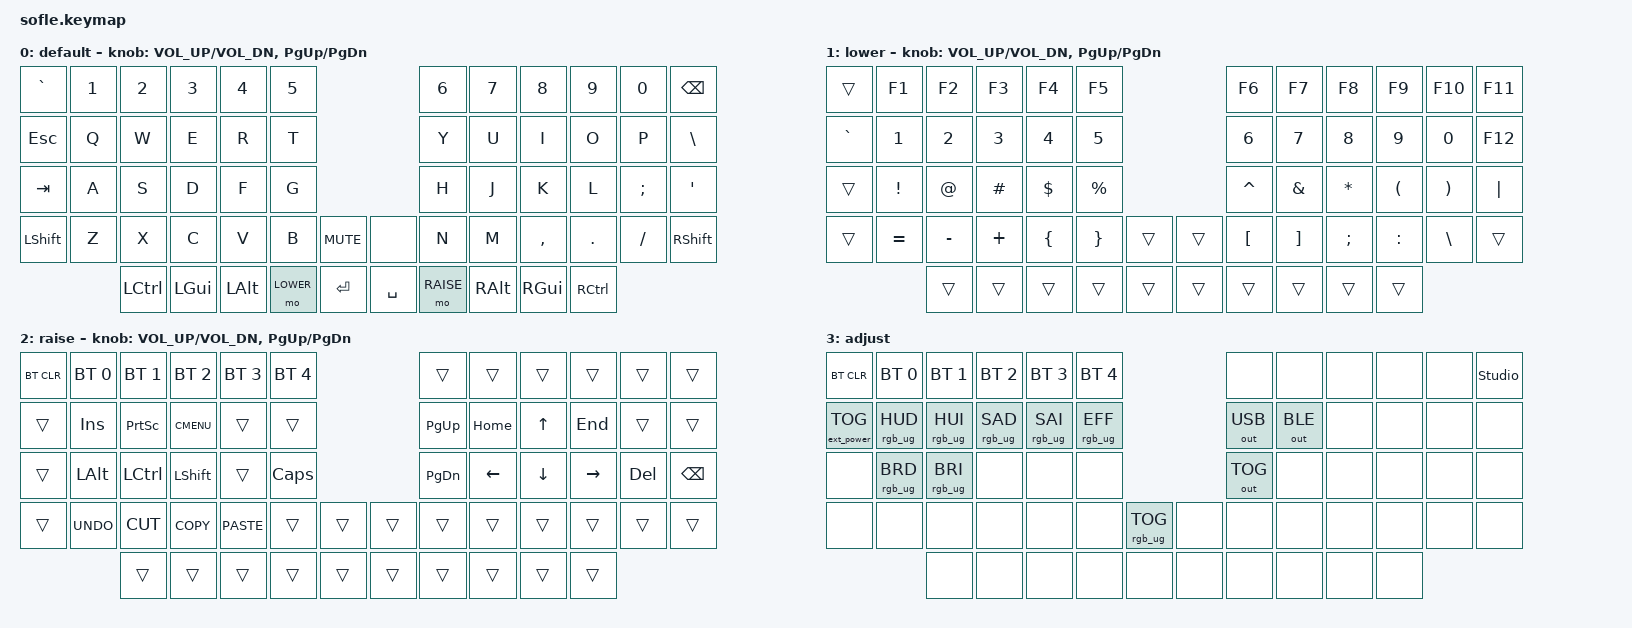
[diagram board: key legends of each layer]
/*
 * Copyright (c) 2020 The ZMK Contributors
 *
 * SPDX-License-Identifier: MIT
 */

#include <behaviors.dtsi>
#include <dt-bindings/zmk/keys.h>
#include <dt-bindings/zmk/bt.h>
#include <dt-bindings/zmk/rgb.h>
#include <dt-bindings/zmk/ext_power.h>
#include <dt-bindings/zmk/outputs.h>

#define BASE 0
#define LOWER 1
#define RAISE 2
#define ADJUST 3

/ {

   // Activate ADJUST layer by pressing raise and lower
    conditional_layers {
        compatible = "zmk,conditional-layers";
        adjust_layer {
            if-layers = <LOWER RAISE>;
            then-layer = <ADJUST>;
        };
    };

    keymap {
        compatible = "zmk,keymap";

        default_layer {
            display-name = "default";
// ------------------------------------------------------------------------------------------------------------
// |   `   |  1  |  2   |  3  |  4   |  5   |                   |  6   |  7    |  8    |  9   |   0   | BKSPC |
// |  ESC  |  Q  |  W   |  E  |  R   |  T   |                   |  Y   |  U    |  I    |  O   |   P   |   \   |
// |  TAB  |  A  |  S   |  D  |  F   |  G   |                   |  H   |  J    |  K    |  L   |   ;   |   '   |
// | SHIFT |  Z  |  X   |  C  |  V   |  B   |  MUTE  |  |       |  N   |  M    |  ,    |  .   |   /   | SHIFT |
//               | CTRL | GUI | ALT  | LOWER|  ENTER |  | SPACE | RAISE|  ALT  | GUI   | CTRL |
            bindings = <
&kp GRAVE &kp N1 &kp N2   &kp N3   &kp N4    &kp N5                           &kp N6 &kp N7    &kp N8    &kp N9   &kp N0   &kp BSPC
&kp ESC   &kp Q  &kp W    &kp E    &kp R     &kp T                            &kp Y  &kp U     &kp I     &kp O    &kp P    &kp BSLH
&kp TAB   &kp A  &kp S    &kp D    &kp F     &kp G                            &kp H  &kp J     &kp K     &kp L    &kp SEMI &kp SQT
&kp LSHFT &kp Z  &kp X    &kp C    &kp V     &kp B      &kp C_MUTE &none      &kp N  &kp M     &kp COMMA &kp DOT  &kp FSLH &kp RSHFT
                 &kp LCTRL &kp LGUI &kp LALT &mo LOWER  &kp RET    &kp SPACE  &mo RAISE  &kp RALT &kp RGUI  &kp RCTRL
            >;

            sensor-bindings = <&inc_dec_kp C_VOL_UP C_VOL_DN &inc_dec_kp PG_UP PG_DN>;
        };

        lower_layer {
            display-name = "lower";
// TODO: Some binds are waiting for shifted keycode support.
// ------------------------------------------------------------------------------------------------------------
// |       |  F1 |  F2 |  F3  |  F4  |  F5  |                   |  F6  |  F7   |  F8   |  F9  |  F10  |  F11  |
// |   `   |  1  |  2  |  3   |  4   |  5   |                   |  6   |  7    |  8    |  9   |   0   |  F12  |
// |       |  !  |  @  |  #   |  $   |  %   |                   |  ^   |  &    |  *    |  (   |   )   |   |   |
// |       |  =  |  -  |  +   |  {   |  }   |        |  |       |  [   |  ]    |  ;    |  :   |   \   |       |
//               |     |      |      |      |        |  |       |      |       |       |      |
            bindings = <
&trans    &kp F1    &kp F2    &kp F3      &kp F4    &kp F5                    &kp F6    &kp F7   &kp F8    &kp F9    &kp F10   &kp F11
&kp GRAVE &kp N1    &kp N2    &kp N3      &kp N4    &kp N5                    &kp N6    &kp N7   &kp N8    &kp N9    &kp N0    &kp F12
&trans    &kp EXCL  &kp AT    &kp HASH    &kp DLLR  &kp PRCNT                 &kp CARET &kp AMPS &kp ASTRK &kp LPAR  &kp RPAR  &kp PIPE
&trans    &kp EQUAL &kp MINUS &kp PLUS &kp LBRC  &kp RBRC   &trans &trans  &kp LBKT  &kp RBKT &kp SEMI  &kp COLON &kp BSLH  &trans
                    &trans    &trans      &trans    &trans     &trans &trans  &trans    &trans   &trans    &trans
            >;

            sensor-bindings = <&inc_dec_kp C_VOL_UP C_VOL_DN &inc_dec_kp PG_UP PG_DN>;
        };

        raise_layer {
            display-name = "raise";
// ------------------------------------------------------------------------------------------------------------
// | BTCLR | BT1  | BT2  |  BT3  |  BT4  |  BT5 |                |      |      |       |      |       |       |
// |       | INS  | PSCR | MENU  |       |      |                | PGUP | HOME |   ^   |  END |       |       |
// |       | ALT  | CTRL | SHIFT |       | CAPS |                | PGDN |   <- |   v   |  ->  |  DEL  | BKSPC |
// |       | UNDO | CUT  | COPY  | PASTE |      |      |  |      |      |      |       |      |       |       |
//                |      |       |       |      |      |  |      |      |      |       |      |
            bindings = <
&bt BT_CLR &bt BT_SEL 0 &bt BT_SEL 1 &bt BT_SEL 2 &bt BT_SEL 3 &bt BT_SEL 4                  &trans    &trans    &trans   &trans    &trans  &trans
&trans     &kp INS      &kp PSCRN    &kp K_CMENU  &trans       &trans                        &kp PG_UP &kp HOME  &kp UP   &kp END   &trans  &trans
&trans     &kp LALT     &kp LCTRL    &kp LSHFT    &trans       &kp CLCK                      &kp PG_DN &kp LEFT  &kp DOWN &kp RIGHT &kp DEL &kp BSPC
&trans     &kp K_UNDO   &kp K_CUT    &kp K_COPY   &kp K_PASTE  &trans        &trans  &trans  &trans    &trans    &trans   &trans    &trans  &trans
                        &trans       &trans       &trans       &trans        &trans  &trans  &trans    &trans    &trans   &trans
            >;

            sensor-bindings = <&inc_dec_kp C_VOL_UP C_VOL_DN &inc_dec_kp PG_UP PG_DN>;
        };

        adjust_layer {
// ----------------------------------------------------------------------------------------------------------------------------
// | BTCLR  |  BT1    |  BT2    |   BT3   |   BT4   |   BT5   |                  |         |         |       |      |       | STD_UNL |
// | EXTPWR | RGB_HUD | RGB_HUI | RGB_SAD | RGB_SAI | RGB_EFF |                  | OUT_USB | OUT_BLE |       |      |       |         |
// |        | RGB_BRD | RGB_BRI |         |         |         |                  | OUT_TOG |         |       |      |       |         |
// |        |         |         |         |         |         | RGB_TOG | |      |         |         |       |      |       |         |
//                    |         |         |         |         |         | |      |         |         |       |      |
            display-name = "adjust";
            bindings = <
&bt BT_CLR        &bt BT_SEL 0    &bt BT_SEL 1    &bt BT_SEL 2    &bt BT_SEL 3    &bt BT_SEL 4                            &none &none &none &none &none &studio_unlock
&ext_power EP_TOG &rgb_ug RGB_HUD &rgb_ug RGB_HUI &rgb_ug RGB_SAD &rgb_ug RGB_SAI &rgb_ug RGB_EFF                         &out OUT_USB &out OUT_BLE &none &none &none &none
&none             &rgb_ug RGB_BRD &rgb_ug RGB_BRI &none           &none           &none                                   &out OUT_TOG &none &none &none &none &none
&none             &none           &none           &none           &none           &none            &rgb_ug RGB_TOG &none  &none &none &none &none &none &none
                                  &none           &none           &none           &none            &none           &none  &none &none &none &none
            >;
        };
        extra1 {
            status = "reserved";
        };

        extra2 {
            status = "reserved";
        };
    };
};
